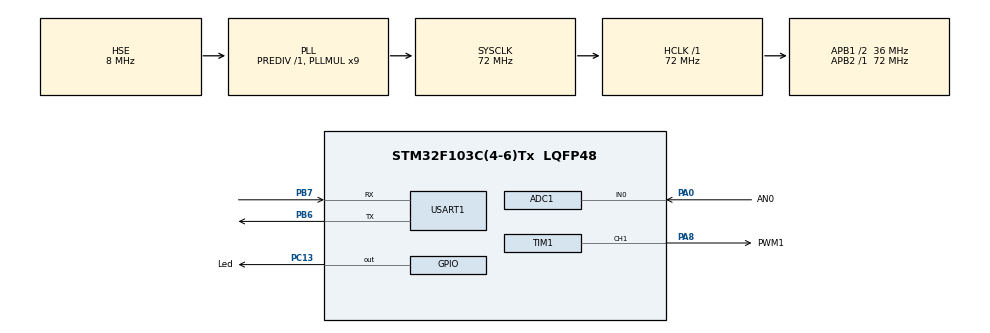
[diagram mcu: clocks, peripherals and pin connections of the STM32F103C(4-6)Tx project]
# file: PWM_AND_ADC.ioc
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ADC1.Channel-0\#ChannelRegularConversion=ADC_CHANNEL_0
ADC1.NbrOfConversionFlag=1
ADC1.Rank-0\#ChannelRegularConversion=1
ADC1.SamplingTime-0\#ChannelRegularConversion=ADC_SAMPLETIME_28CYCLES_5
ADC1.master=1
Mcu.Family=STM32F1
Mcu.Name=STM32F103C(4-6)Tx
Mcu.Package=LQFP48
NVIC.PriorityGroup=NVIC_PRIORITYGROUP_4
PA0-WKUP.GPIO_Label=AN0
PA0-WKUP.Signal=ADCx_IN0
PA13.Mode=Serial_Wire
PA13.Signal=SYS_JTMS-SWDIO
PA14.Mode=Serial_Wire
PA14.Signal=SYS_JTCK-SWCLK
PA8.GPIO_Label=PWM1
PA8.Signal=S_TIM1_CH1
PB6.Mode=Asynchronous
PB6.Signal=USART1_TX
PB7.Mode=Asynchronous
PB7.Signal=USART1_RX
PC13-TAMPER-RTC.GPIO_Label=Led
PC13-TAMPER-RTC.Signal=GPIO_Output
PD0-OSC_IN.Mode=HSE-External-Oscillator
PD0-OSC_IN.Signal=RCC_OSC_IN
PD1-OSC_OUT.Mode=HSE-External-Oscillator
PD1-OSC_OUT.Signal=RCC_OSC_OUT
ProjectManager.HeapSize=0x200
ProjectManager.StackSize=0x400
ProjectManager.TargetToolchain=STM32CubeIDE
RCC.ADCPresc=RCC_ADCPCLK2_DIV6
RCC.AHBFreq_Value=72000000
RCC.APB1CLKDivider=RCC_HCLK_DIV2
RCC.APB1Freq_Value=36000000
RCC.APB1TimFreq_Value=72000000
RCC.APB2Freq_Value=72000000
RCC.APB2TimFreq_Value=72000000
RCC.HCLKFreq_Value=72000000
RCC.PLLMUL=RCC_PLL_MUL9
RCC.PLLSourceVirtual=RCC_PLLSOURCE_HSE
RCC.SYSCLKFreq_VALUE=72000000
RCC.SYSCLKSource=RCC_SYSCLKSOURCE_PLLCLK
RCC.USBFreq_Value=72000000
SH.ADCx_IN0.0=ADC1_IN0,IN0
SH.S_TIM1_CH1.0=TIM1_CH1,PWM Generation1 CH1
TIM1.Channel-PWM\ Generation1\ CH1=TIM_CHANNEL_1
TIM1.Period=1000
TIM1.Prescaler=719
USART1.VirtualMode=VM_ASYNC
VP_TIM1_VS_ClockSourceINT.Mode=Internal
VP_TIM1_VS_ClockSourceITR.Mode=TriggerSource_ITR0
board=custom

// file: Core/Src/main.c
/* USER CODE BEGIN Header */
/**
  ******************************************************************************
  * @file           : main.c
  * @brief          : Main program body
  ******************************************************************************
  * @attention
  *
  * Copyright (c) 2026 STMicroelectronics.
  * All rights reserved.
  *
  * This software is licensed under terms that can be found in the LICENSE file
  * in the root directory of this software component.
  * If no LICENSE file comes with this software, it is provided AS-IS.
  *
  ******************************************************************************
  */
/* USER CODE END Header */
#include "main.h"

/* USER CODE BEGIN Includes */
#include "stdio.h"
#include "string.h"
/* USER CODE END Includes */

ADC_HandleTypeDef hadc1;

TIM_HandleTypeDef htim1;

UART_HandleTypeDef huart1;

/* USER CODE BEGIN PV */
uint16_t ValorADCBruto = 0;
float SetPoint = 0.0;
char mensagem[50];
uint16_t PWM_Atual;
/* USER CODE END PV */

void SystemClock_Config(void);
static void MX_GPIO_Init(void);
static void MX_ADC1_Init(void);
static void MX_TIM1_Init(void);
static void MX_USART1_UART_Init(void);

int main(void)
{

  /* MCU Configuration--------------------------------------------------------*/

  /* Reset of all peripherals, Initializes the Flash interface and the Systick. */
  HAL_Init();

  /* Configure the system clock */
  SystemClock_Config();

  /* Initialize all configured peripherals */
  MX_GPIO_Init();
  MX_ADC1_Init();
  MX_TIM1_Init();
  MX_USART1_UART_Init();
  /* USER CODE BEGIN 2 */
  HAL_ADC_Stop(&hadc1); //Desabilita o periférico
  HAL_ADCEx_Calibration_Start(&hadc1);
  __HAL_TIM_ENABLE(&htim1);
  HAL_TIM_PWM_Start(&htim1, TIM_CHANNEL_1);

  /* USER CODE END 2 */

  /* Infinite loop */
  /* USER CODE BEGIN WHILE */
  while (1)
  {
	  HAL_ADC_Start( &hadc1); // Inicia a conversão ADC
	  HAL_ADC_PollForConversion(&hadc1, 10);  // Espera a conversão ser concluída
	  ValorADCBruto = HAL_ADC_GetValue(&hadc1);  // Lê o valor convertido - Devolve um numero entre 0 e 4096
	  HAL_ADC_Stop(&hadc1); //Desabilita o periférico

	  SetPoint = ValorADCBruto/4.095;
	  PWM_Atual = (uint16_t)SetPoint;
	  if(PWM_Atual<10){PWM_Atual=10;}
	  else if(PWM_Atual>990){PWM_Atual=990;}

	  TIM1->CCR1 = PWM_Atual; //Atualiza o valor do comparador que gera o Duty+

	  sprintf(mensagem, "VALOR ADC = %d\r\n",ValorADCBruto);
	  HAL_UART_Transmit(&huart1, (uint8_t*)mensagem, strlen(mensagem), 50);
	  sprintf(mensagem, "PWM Set = %.2f\r\n",SetPoint);
	  HAL_UART_Transmit(&huart1, (uint8_t*)mensagem, strlen(mensagem), 50);
	  sprintf(mensagem, "PWM Atual = %d\r\n",PWM_Atual);
	  HAL_UART_Transmit(&huart1, (uint8_t*)mensagem, strlen(mensagem), 50);

	  HAL_GPIO_TogglePin(Led_GPIO_Port, Led_Pin);
	  HAL_Delay(200);

    /* USER CODE END WHILE */

  }
}

void SystemClock_Config(void)
{
  RCC_OscInitTypeDef RCC_OscInitStruct = {0};
  RCC_ClkInitTypeDef RCC_ClkInitStruct = {0};
  RCC_PeriphCLKInitTypeDef PeriphClkInit = {0};

  /** Initializes the RCC Oscillators according to the specified parameters
  * in the RCC_OscInitTypeDef structure.
  */
  RCC_OscInitStruct.OscillatorType = RCC_OSCILLATORTYPE_HSE;
  RCC_OscInitStruct.HSEState = RCC_HSE_ON;
  RCC_OscInitStruct.HSEPredivValue = RCC_HSE_PREDIV_DIV1;
  RCC_OscInitStruct.HSIState = RCC_HSI_ON;
  RCC_OscInitStruct.PLL.PLLState = RCC_PLL_ON;
  RCC_OscInitStruct.PLL.PLLSource = RCC_PLLSOURCE_HSE;
  RCC_OscInitStruct.PLL.PLLMUL = RCC_PLL_MUL9;
  if (HAL_RCC_OscConfig(&RCC_OscInitStruct) != HAL_OK)
  {
    Error_Handler();
  }

  /** Initializes the CPU, AHB and APB buses clocks
  */
  RCC_ClkInitStruct.ClockType = RCC_CLOCKTYPE_HCLK|RCC_CLOCKTYPE_SYSCLK
                              |RCC_CLOCKTYPE_PCLK1|RCC_CLOCKTYPE_PCLK2;
  RCC_ClkInitStruct.SYSCLKSource = RCC_SYSCLKSOURCE_PLLCLK;
  RCC_ClkInitStruct.AHBCLKDivider = RCC_SYSCLK_DIV1;
  RCC_ClkInitStruct.APB1CLKDivider = RCC_HCLK_DIV2;
  RCC_ClkInitStruct.APB2CLKDivider = RCC_HCLK_DIV1;

  if (HAL_RCC_ClockConfig(&RCC_ClkInitStruct, FLASH_LATENCY_2) != HAL_OK)
  {
    Error_Handler();
  }
  PeriphClkInit.PeriphClockSelection = RCC_PERIPHCLK_ADC;
  PeriphClkInit.AdcClockSelection = RCC_ADCPCLK2_DIV6;
  if (HAL_RCCEx_PeriphCLKConfig(&PeriphClkInit) != HAL_OK)
  {
    Error_Handler();
  }
}

static void MX_ADC1_Init(void)
{

  ADC_ChannelConfTypeDef sConfig = {0};

  /** Common config
  */
  hadc1.Instance = ADC1;
  hadc1.Init.ScanConvMode = ADC_SCAN_DISABLE;
  hadc1.Init.ContinuousConvMode = DISABLE;
  hadc1.Init.DiscontinuousConvMode = DISABLE;
  hadc1.Init.ExternalTrigConv = ADC_SOFTWARE_START;
  hadc1.Init.DataAlign = ADC_DATAALIGN_RIGHT;
  hadc1.Init.NbrOfConversion = 1;
  if (HAL_ADC_Init(&hadc1) != HAL_OK)
  {
    Error_Handler();
  }

  /** Configure Regular Channel
  */
  sConfig.Channel = ADC_CHANNEL_0;
  sConfig.Rank = ADC_REGULAR_RANK_1;
  sConfig.SamplingTime = ADC_SAMPLETIME_28CYCLES_5;
  if (HAL_ADC_ConfigChannel(&hadc1, &sConfig) != HAL_OK)
  {
    Error_Handler();
  }

}

static void MX_TIM1_Init(void)
{

  TIM_ClockConfigTypeDef sClockSourceConfig = {0};
  TIM_SlaveConfigTypeDef sSlaveConfig = {0};
  TIM_MasterConfigTypeDef sMasterConfig = {0};
  TIM_OC_InitTypeDef sConfigOC = {0};
  TIM_BreakDeadTimeConfigTypeDef sBreakDeadTimeConfig = {0};

  htim1.Instance = TIM1;
  htim1.Init.Prescaler = 719;
  htim1.Init.CounterMode = TIM_COUNTERMODE_UP;
  htim1.Init.Period = 1000;
  htim1.Init.ClockDivision = TIM_CLOCKDIVISION_DIV1;
  htim1.Init.RepetitionCounter = 0;
  htim1.Init.AutoReloadPreload = TIM_AUTORELOAD_PRELOAD_DISABLE;
  if (HAL_TIM_Base_Init(&htim1) != HAL_OK)
  {
    Error_Handler();
  }
  sClockSourceConfig.ClockSource = TIM_CLOCKSOURCE_INTERNAL;
  if (HAL_TIM_ConfigClockSource(&htim1, &sClockSourceConfig) != HAL_OK)
  {
    Error_Handler();
  }
  if (HAL_TIM_PWM_Init(&htim1) != HAL_OK)
  {
    Error_Handler();
  }
  sSlaveConfig.SlaveMode = TIM_SLAVEMODE_DISABLE;
  sSlaveConfig.InputTrigger = TIM_TS_ITR0;
  if (HAL_TIM_SlaveConfigSynchro(&htim1, &sSlaveConfig) != HAL_OK)
  {
    Error_Handler();
  }
  sMasterConfig.MasterOutputTrigger = TIM_TRGO_RESET;
  sMasterConfig.MasterSlaveMode = TIM_MASTERSLAVEMODE_DISABLE;
  if (HAL_TIMEx_MasterConfigSynchronization(&htim1, &sMasterConfig) != HAL_OK)
  {
    Error_Handler();
  }
  sConfigOC.OCMode = TIM_OCMODE_PWM1;
  sConfigOC.Pulse = 0;
  sConfigOC.OCPolarity = TIM_OCPOLARITY_HIGH;
  sConfigOC.OCNPolarity = TIM_OCNPOLARITY_HIGH;
  sConfigOC.OCFastMode = TIM_OCFAST_DISABLE;
  sConfigOC.OCIdleState = TIM_OCIDLESTATE_RESET;
  sConfigOC.OCNIdleState = TIM_OCNIDLESTATE_RESET;
  if (HAL_TIM_PWM_ConfigChannel(&htim1, &sConfigOC, TIM_CHANNEL_1) != HAL_OK)
  {
    Error_Handler();
  }
  sBreakDeadTimeConfig.OffStateRunMode = TIM_OSSR_DISABLE;
  sBreakDeadTimeConfig.OffStateIDLEMode = TIM_OSSI_DISABLE;
  sBreakDeadTimeConfig.LockLevel = TIM_LOCKLEVEL_OFF;
  sBreakDeadTimeConfig.DeadTime = 0;
  sBreakDeadTimeConfig.BreakState = TIM_BREAK_DISABLE;
  sBreakDeadTimeConfig.BreakPolarity = TIM_BREAKPOLARITY_HIGH;
  sBreakDeadTimeConfig.AutomaticOutput = TIM_AUTOMATICOUTPUT_DISABLE;
  if (HAL_TIMEx_ConfigBreakDeadTime(&htim1, &sBreakDeadTimeConfig) != HAL_OK)
  {
    Error_Handler();
  }
  HAL_TIM_MspPostInit(&htim1);

}

static void MX_USART1_UART_Init(void)
{

  huart1.Instance = USART1;
  huart1.Init.BaudRate = 115200;
  huart1.Init.WordLength = UART_WORDLENGTH_8B;
  huart1.Init.StopBits = UART_STOPBITS_1;
  huart1.Init.Parity = UART_PARITY_NONE;
  huart1.Init.Mode = UART_MODE_TX_RX;
  huart1.Init.HwFlowCtl = UART_HWCONTROL_NONE;
  huart1.Init.OverSampling = UART_OVERSAMPLING_16;
  if (HAL_UART_Init(&huart1) != HAL_OK)
  {
    Error_Handler();
  }

}

static void MX_GPIO_Init(void)
{
  GPIO_InitTypeDef GPIO_InitStruct = {0};

  /* GPIO Ports Clock Enable */
  __HAL_RCC_GPIOC_CLK_ENABLE();
  __HAL_RCC_GPIOD_CLK_ENABLE();
  __HAL_RCC_GPIOA_CLK_ENABLE();
  __HAL_RCC_GPIOB_CLK_ENABLE();

  /*Configure GPIO pin Output Level */
  HAL_GPIO_WritePin(Led_GPIO_Port, Led_Pin, GPIO_PIN_RESET);

  /*Configure GPIO pin : Led_Pin */
  GPIO_InitStruct.Pin = Led_Pin;
  GPIO_InitStruct.Mode = GPIO_MODE_OUTPUT_PP;
  GPIO_InitStruct.Pull = GPIO_NOPULL;
  GPIO_InitStruct.Speed = GPIO_SPEED_FREQ_LOW;
  HAL_GPIO_Init(Led_GPIO_Port, &GPIO_InitStruct);

}

void Error_Handler(void)
{
  __disable_irq();
  while (1)
  {
  }
}
